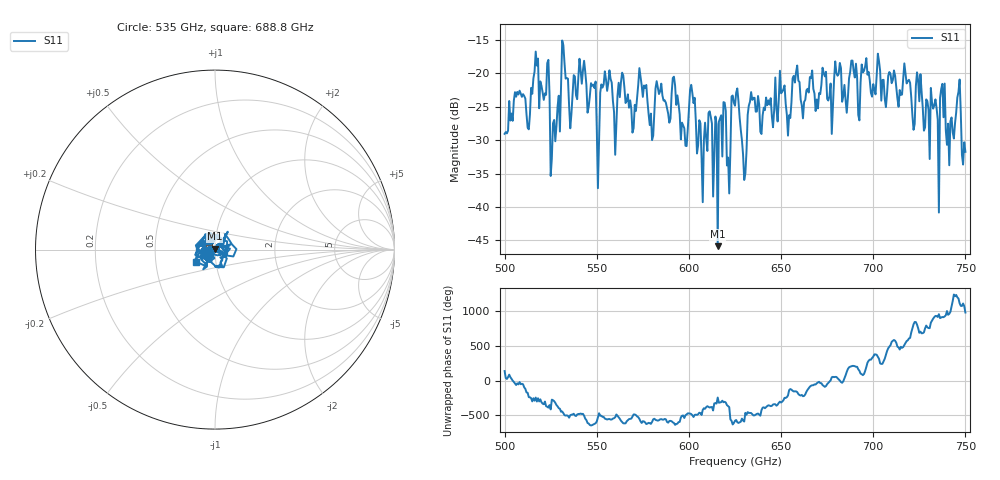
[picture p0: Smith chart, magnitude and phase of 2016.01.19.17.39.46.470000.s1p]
!Created with skrf (http://scikit-rf.org).
# GHz S RI R 50.0
!freq ReS11 ImS11
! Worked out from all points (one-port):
!   401 points, 500 GHz to 750 GHz, reference 50 ohm
!   lowest |S11| = -45.9 dB at 615.6 GHz (marker M1), VSWR 1.01, Z = 49.8 + j0.455 ohm
!   |S11| at or under -10 dB: start of sweep to end of sweep
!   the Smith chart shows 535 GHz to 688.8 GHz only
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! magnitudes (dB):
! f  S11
! 500 GHz  -29.1
! 513.1 GHz  -28.4
! 516.9 GHz  -16.8
! 523.1 GHz  -18.5
! 526.2 GHz  -27.5
! 531.2 GHz  -15.1
! 548.1 GHz  -21.7
! 551.2 GHz  -30.1
! 553.8 GHz  -21.7
! 560 GHz  -32.2
! 562.5 GHz  -23.6
! 574.4 GHz  -21.8
! 579.4 GHz  -26.0
! 593.8 GHz  -23.3
! 615.6 GHz  -45.9
! 618.8 GHz  -24.3
! 621.9 GHz  -38.0
! 625 GHz  -24.9
! 630 GHz  -36.0
! 633.8 GHz  -22.8
! 656.2 GHz  -20.8
! 687.5 GHz  -19.8
! 718.8 GHz  -21.2
! 734.4 GHz  -25.2
! 737.5 GHz  -21.6
! 740.6 GHz  -27.5
! 746.2 GHz  -22.8
! 750 GHz  -31.8
